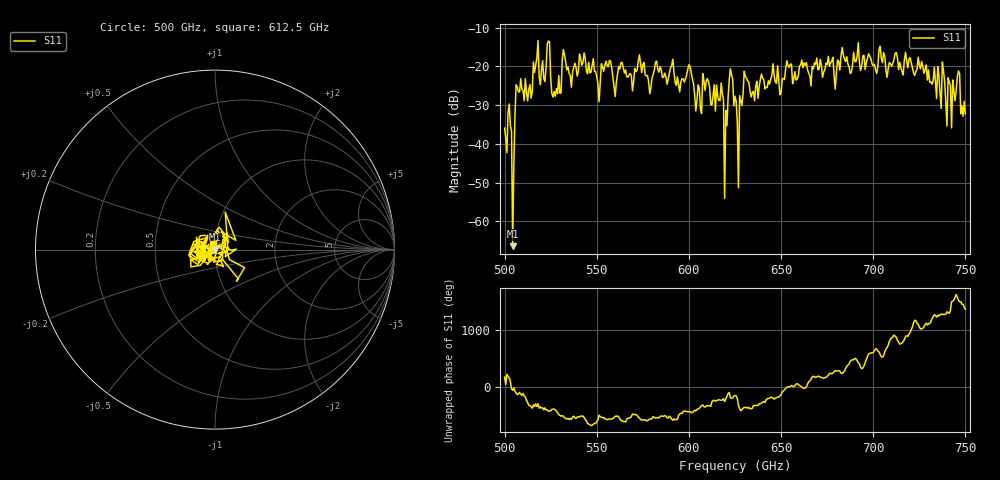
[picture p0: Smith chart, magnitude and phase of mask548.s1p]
!Created with skrf (http://scikit-rf.org).
# GHz S MA R 50.0
!freq magS11 angS11
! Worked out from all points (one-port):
!   401 points, 500 GHz to 750 GHz, reference 50 ohm
!   lowest |S11| = -66.4 dB at 504.4 GHz (marker M1), VSWR 1.00, Z = 50 - j0.0393 ohm
!   |S11| at or under -10 dB: start of sweep to end of sweep
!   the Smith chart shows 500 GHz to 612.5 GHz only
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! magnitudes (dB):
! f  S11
! 500 GHz  -35.9
! 502.5 GHz  -29.7
! 504.4 GHz  -66.4
! 507.5 GHz  -26.4
! 513.8 GHz  -24.7
! 516.9 GHz  -19.6
! 520.6 GHz  -18.5
! 523.8 GHz  -13.4
! 526.9 GHz  -26.5
! 531.2 GHz  -18.4
! 562.5 GHz  -20.7
! 593.8 GHz  -22.7
! 600.6 GHz  -20.0
! 605.6 GHz  -25.6
! 608.8 GHz  -26.2
! 617.5 GHz  -24.2
! 620 GHz  -31.4
! 622.5 GHz  -20.6
! 625 GHz  -27.7
! 627.5 GHz  -27.5
! 631.2 GHz  -23.0
! 634.4 GHz  -26.8
! 656.2 GHz  -24.5
! 687.5 GHz  -21.8
! 718.8 GHz  -20.3
! 741.2 GHz  -24.0
! 745.6 GHz  -22.7
! 750 GHz  -32.2
